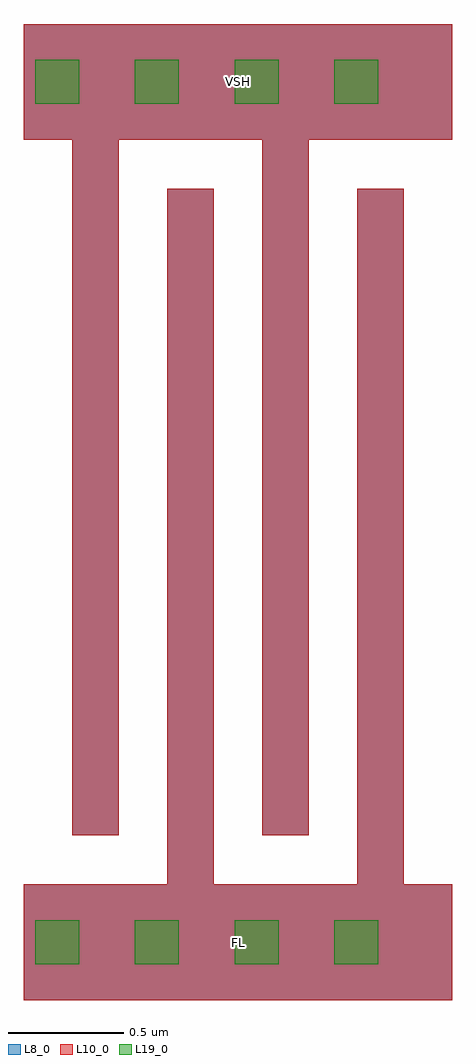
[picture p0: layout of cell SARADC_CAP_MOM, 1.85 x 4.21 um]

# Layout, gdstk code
import gdstk
lib = gdstk.Library(unit=1e-6, precision=1e-09)
def R(c, l, rs):  # rectangles x0, y0, x1, y1
    for r in rs: c.add(gdstk.rectangle(r[:2], r[2:], *l))
def A(c, l, x, y, w, h, nx, ny, dx, dy):  # array of equal rectangles
    R(c, l, [(x+i*dx, y+j*dy, x+i*dx+w, y+j*dy+h) for i in range(nx) for j in range(ny)])
L8_0 = (8, 0)
L10_0 = (10, 0)
L19_0 = (19, 0)

saradc_cap_mom = lib.new_cell('SARADC_CAP_MOM')
R(saradc_cap_mom, L8_0, [(0,0,1.85,0.5), (0.62,0.5,0.82,3.5), (1.44,0.5,1.64,3.5), (0.21,0.71,0.41,3.71), (1.03,0.71,1.23,3.71), (0,3.71,1.85,4.21)])
R(saradc_cap_mom, L10_0, [(0,0,1.85,0.5), (0.62,0.5,0.82,3.5), (1.44,0.5,1.64,3.5), (0.21,0.71,0.41,3.71), (1.03,0.71,1.23,3.71), (0,3.71,1.85,4.21)])
A(saradc_cap_mom, L19_0, 0.05, 0.155, 0.19, 0.19, 4, 2, 0.43, 3.71)
saradc_cap_mom.add(gdstk.Label('VSH', (0.925,3.96), layer=8, texttype=0))
saradc_cap_mom.add(gdstk.Label('FL', (0.925,0.25), layer=8, texttype=0))
saradc_cap_mom.add(gdstk.Label('VSH', (0.925,3.96), layer=8, texttype=25))
saradc_cap_mom.add(gdstk.Label('FL', (0.925,0.25), layer=8, texttype=25))
saradc_cap_mom.add(gdstk.Label('VSH', (0.925,3.96), layer=10, texttype=0))
saradc_cap_mom.add(gdstk.Label('FL', (0.925,0.25), layer=10, texttype=0))
saradc_cap_mom.add(gdstk.Label('VSH', (0.925,3.96), layer=10, texttype=25))
saradc_cap_mom.add(gdstk.Label('FL', (0.925,0.25), layer=10, texttype=25))

lib.write_gds('SARADC_CAP_MOM.gds')
